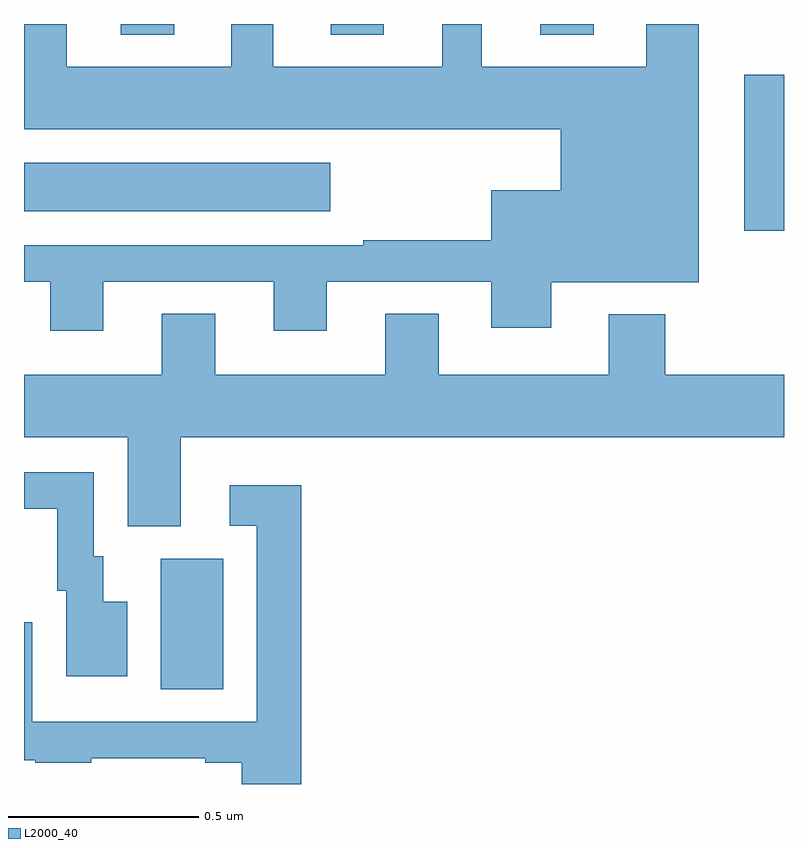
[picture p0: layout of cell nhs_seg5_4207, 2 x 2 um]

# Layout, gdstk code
import gdstk
lib = gdstk.Library(unit=1e-6, precision=1e-09)
def R(c, l, rs):  # rectangles x0, y0, x1, y1
    for r in rs: c.add(gdstk.rectangle(r[:2], r[2:], *l))
def A(c, l, x, y, w, h, nx, ny, dx, dy):  # array of equal rectangles
    R(c, l, [(x+i*dx, y+j*dy, x+i*dx+w, y+j*dy+h) for i in range(nx) for j in range(ny)])
def P(c, l, *ps):  # polygons
    for p in ps: c.add(gdstk.Polygon(p, *l))
L2000_40 = (2000, 40)

nhs_seg5_4207 = lib.new_cell('nhs_seg5_4207')
A(nhs_seg5_4207, L2000_40, 167.255, 905.771, 0.14, 0.028, 3, 1, 0.552, 0)
R(nhs_seg5_4207, L2000_40, [(167.36,904.048,167.524,904.392), (168.896,905.255,169,905.665), (167,905.306,167.806,905.434)])
P(nhs_seg5_4207, L2000_40, [(167.209,905.121),(167.657,905.121),(167.657,904.992),(167.797,904.992),(167.797,905.121),(168.23,905.121),(168.23,905),(168.388,905),(168.388,905.12),(168.775,905.12),(168.775,905.799),(168.638,905.799),(168.638,905.686),(168.205,905.686),(168.205,905.799),(168.101,905.799),(168.101,905.686),(167.656,905.686),(167.656,905.799),(167.546,905.799),(167.546,905.686),(167.113,905.686),(167.113,905.799),(167,905.799),(167,905.522),(168.413,905.522),(168.413,905.362),(168.23,905.362),(168.23,905.23),(167.893,905.23),(167.893,905.217),(167,905.217),(167,905.121),(167.069,905.121),(167.069,904.992),(167.209,904.992)],
  [(167.413,904.712),(169,904.712),(169,904.876),(168.687,904.876),(168.687,905.035),(168.539,905.035),(168.539,904.876),(168.091,904.876),(168.091,905.036),(167.951,905.036),(167.951,904.876),(167.503,904.876),(167.503,905.036),(167.363,905.036),(167.363,904.876),(167,904.876),(167,904.712),(167.273,904.712),(167.273,904.477),(167.413,904.477)],
  [(167.272,904.279),(167.209,904.279),(167.209,904.398),(167.184,904.398),(167.184,904.62),(167,904.62),(167,904.524),(167.087,904.524),(167.087,904.308),(167.111,904.308),(167.111,904.083),(167.272,904.083)],
  [(167.729,904.585),(167.541,904.585),(167.541,904.479),(167.613,904.479),(167.613,903.963),(167.022,903.963),(167.022,904.225),(167,904.225),(167,903.861),(167.029,903.861),(167.029,903.855),(167.177,903.855),(167.177,903.867),(167.477,903.867),(167.477,903.855),(167.573,903.855),(167.573,903.799),(167.729,903.799)])

lib.write_gds('nhs_seg5_4207.gds')
